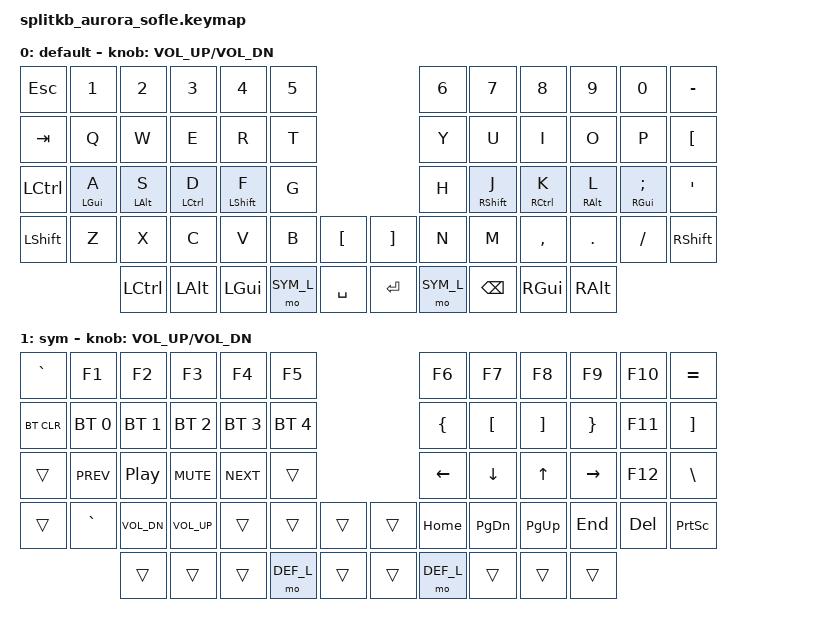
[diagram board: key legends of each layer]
/*
 * Copyright (c) 2023 The ZMK Contributors
 *
 * SPDX-License-Identifier: MIT
 */

#include <behaviors.dtsi>
#include <dt-bindings/zmk/keys.h>
#include <dt-bindings/zmk/bt.h>
#include <dt-bindings/zmk/ext_power.h>

/* Uncomment this block if using RGB
&led_strip {
    chain-length = <6>;
    // chain-length = <35>; // Uncomment if using both per-key and underglow LEDs
    // chain-length = <29>; // Uncomment if using only per-key LEDs.
};
 */

#define DEF_L 0
#define SYM_L 1

/ {
    behaviors {
        hm: homerow_mod {
            compatible = "zmk,behavior-hold-tap";
            #binding-cells = <2>;
            flavor = "balanced";
            tapping-term-ms = <200>;
            quick-tap-ms = <150>;
            require-prior-idle-ms = <125>;
            bindings = <&kp>, <&kp>;
        };
    };

    keymap {
        compatible = "zmk,keymap";

        default_layer {
            display-name = "default";
// ------------------------------------------------------------------------------------------------------------
// |  ESC  |  1  |  2  |  3   |  4   |  5   |                   |  6   |  7    |  8    |  9   |   0   |   -   |
// |  TAB  |  Q  |  W  |  E   |  R   |  T   |                   |  Y   |  U    |  I    |  O   |   P   |   [   |
// |  CTRL |GUI/A|ALT/S|CTL/D |SFT/F |  G   |                   |  H   |SFT/J |CTL/K |ALT/L |GUI/; |   '   |
// | SHIFT |  Z  |  X  |  C   |  V   |  B   |   "["  |  |  "]"  |  N   |  M    |  ,    |  .   |   /   | SHIFT |
//               |CTRL | ALT  | GUI  | SYM_L|  SPACE |  | ENTER | SYM_L| BSPC  | GUI   | RALT |
            bindings = <
&kp ESC   &kp N1 &kp N2      &kp N3       &kp N4       &kp N5                         &kp N6     &kp N7       &kp N8       &kp N9      &kp N0        &kp MINUS
&kp TAB   &kp Q  &kp W       &kp E        &kp R        &kp T                          &kp Y      &kp U        &kp I        &kp O       &kp P         &kp LEFT_BRACKET
&kp LCTRL &hm LGUI A &hm LALT S &hm LCTRL D &hm LSHFT F &kp G                          &kp H      &hm RSHFT J  &hm RCTRL K  &hm RALT L  &hm RGUI SEMI &kp SQT
&kp LSHFT &kp Z  &kp X       &kp C        &kp V        &kp B      &kp LBKT   &kp RBKT &kp N      &kp M        &kp COMMA    &kp DOT     &kp FSLH      &kp RSHFT
                   &kp LCTRL  &kp LALT     &kp LGUI     &mo SYM_L  &kp SPACE  &kp RET  &mo SYM_L  &kp BSPC     &kp RGUI     &kp RALT
            >;

            sensor-bindings = <&inc_dec_kp C_VOL_UP C_VOL_DN>;
        };

        sym_layer {
            display-name = "sym";
// ------------------------------------------------------------------------------------------------------------
// |   `   |  F1  |  F2   |  F3   |  F4  |  F5  |                   |  F6  |   F7  |   F8  |  F9  |  F10  |   =   |
// | BTCLR | BT1  | BT2   |  BT3  |  BT4 |  BT5 |                   |  {   |   [   |   ]   |  }   |  F11  |   ]   |
// |       | PREV | PLAY  | MUTE  | NEXT |      |                   |  ←   |   ↓   |   ↑   |  →   |  F12  |   \   |
// |       |   `  | VOL_DN| VOL_UP|      |      |        |  |       | HOME | PG_DN | PG_UP | END  |  DEL  | PSCRN |
//                |       |       |      |      |        |  |       |      |       |       |      |
            bindings = <
&kp GRAVE  &kp F1           &kp F2            &kp F3            &kp F4       &kp F5                       &kp F6     &kp F7     &kp F8     &kp F9      &kp F10   &kp EQUAL
&bt BT_CLR &bt BT_SEL 0     &bt BT_SEL 1      &bt BT_SEL 2      &bt BT_SEL 3 &bt BT_SEL 4                 &kp LBRC   &kp LBKT   &kp RBKT   &kp RBRC    &kp F11   &kp RIGHT_BRACKET
&trans     &kp C_PREV       &kp C_PLAY_PAUSE  &kp C_MUTE        &kp C_NEXT   &trans                       &kp LEFT   &kp DOWN   &kp UP     &kp RIGHT   &kp F12   &kp BACKSLASH
&trans     &kp GRAVE        &kp C_VOL_DN      &kp C_VOL_UP      &trans       &trans       &trans &trans   &kp HOME   &kp PG_DN  &kp PG_UP  &kp END     &kp DEL   &kp PSCRN
                            &trans            &trans            &trans       &mo DEF_L    &trans &trans   &mo DEF_L  &trans     &trans     &trans
            >;

            sensor-bindings = <&inc_dec_kp C_VOL_UP C_VOL_DN>;
        };
    };
};
